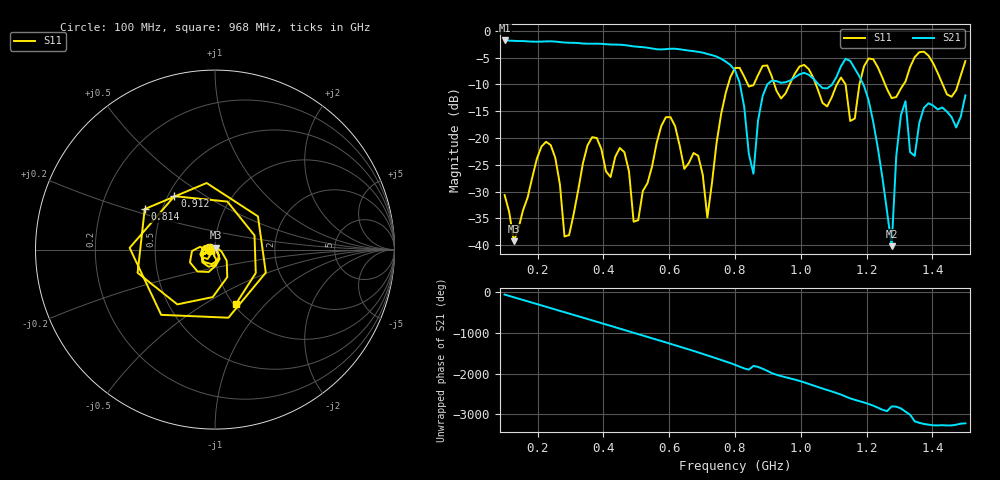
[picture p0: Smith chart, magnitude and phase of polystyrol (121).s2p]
! NanoVNA-App
! Date: 2025-09-26 09:42:49
! Start: 100MHz Stop: 1,5GHz Points: 101
! S-Parameter data: F S11 S21 S12 S22
# Hz S RI R 50
!  Frequency  S11_Real  S11_Imag  S21_Real  S21_Imag  S12_Real  S12_Imag  S22_Real  S22_Imag
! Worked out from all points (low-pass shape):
!   101 points, 100 MHz to 1.5 GHz, reference 50 ohm
!   highest |S21| = -1.79 dB at 100 MHz (marker M1); lowest = -40.2 dB at 1.276 GHz (marker M2)
!   |S21| within 3 dB of the highest: start of sweep to 743.4 MHz
!   lowest |S11| = -39.3 dB at 128 MHz (marker M3), VSWR 1.02, Z = 50.3 + j1.05 ohm
!   |S11| at or under -10 dB: start of sweep to 779.4 MHz; 1.046 GHz to 1.11 GHz (63.94 MHz wide, 5.93 % of centre); 1.136 GHz to 1.178 GHz (42.11 MHz wide, 3.64 % of centre) (the widest 3 of 7)
!   S12 and S22 are empty: the file has one direction only
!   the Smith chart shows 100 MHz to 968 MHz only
!   S11 on the Smith chart (normalised r, x): 100 MHz: 0.94, -0.01; 814 MHz: 0.40, +0.23; 912 MHz: 0.54, +0.37; 968 MHz: 1.02, -0.70
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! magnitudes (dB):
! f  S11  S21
! 100 MHz  -30.7  -1.8
! 128 MHz  -39.3  -1.9
! 212 MHz  -21.6  -2.0
! 282 MHz  -38.4  -2.2
! 338 MHz  -24.7  -2.4
! 464 MHz  -22.7  -2.6
! 506 MHz  -35.3  -3.0
! 576 MHz  -17.8  -3.5
! 688 MHz  -23.3  -3.9
! 716 MHz  -34.9  -4.3
! 800 MHz  -6.9  -7.4
! 814 MHz  -6.9  -9.6
! 856 MHz  -10.2  -26.7
! 912 MHz  -8.5  -9.3
! 968 MHz  -9.7  -9.3
! 1.038 GHz  -8.8  -8.9
! 1.15 GHz  -16.8  -5.6
! 1.192 GHz  -6.6  -10.3
! 1.276 GHz  -12.6  -40.2
! 1.318 GHz  -9.4  -13.1
! 1.346 GHz  -4.9  -23.3
! 1.5 GHz  -5.6  -12.0
